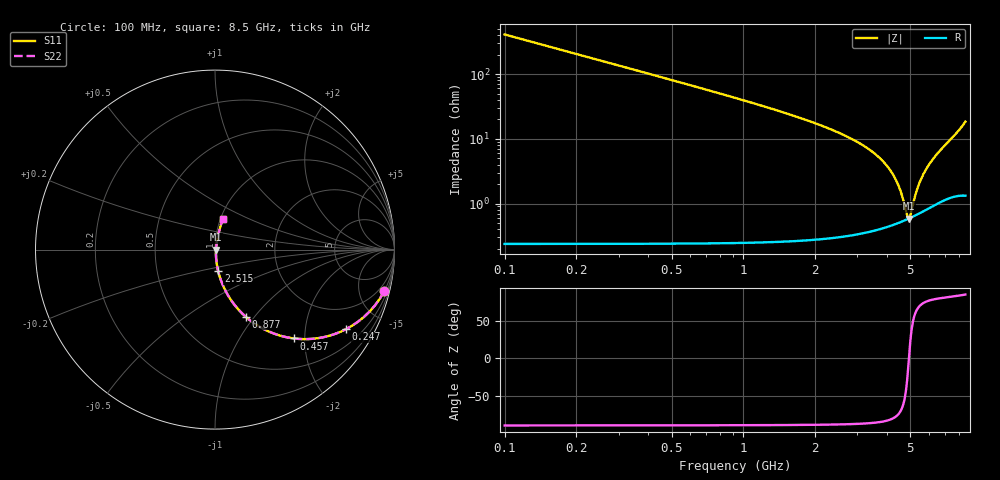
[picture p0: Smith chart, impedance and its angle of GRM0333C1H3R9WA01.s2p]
!Murata Part Number: GRM0333C1H3R9WA01
!These Parameters are Measured in Series Mode Connection
!Data Generated on Mar 30, 2021
!  o--ll--o
!Port1  Port2
!  o------o
!Operation Temp=25[degC], DC Bias Voltage=0[V]
!Freq. Start=100[MHz] Stop=9[GHz] 401[Steps]
# Hz S RI R 50
!Freq.(Hz) S11(Real) S11(Imag) S21(Real) S21(Imag) S12(Real) S12(Imag) S22(Real) S22(Imag)
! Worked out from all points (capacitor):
!   401 points, 100 MHz to 8.5 GHz, reference 50 ohm
!   read as one part in series: C = 3.9 pF near 142 MHz
!   lowest |Z| = 586 mohm at 4.93 GHz (marker M1)
!   series resonance near 4.93 GHz, so ESL is about 270 pH
!   S11 on the Smith chart (normalised r, x): 100 MHz: 1.00, -8.16; 247 MHz: 1.00, -3.30; 457 MHz: 1.00, -1.77; 877 MHz: 1.00, -0.90; 2.515 GHz: 1.01, -0.25; 8.5 GHz: 1.03, +0.37
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1e8  0.9432 -0.2312  0.0568 0.2312  0.0568 0.2312  0.9432 -0.2312
1.84e8  0.8304 -0.3747  0.1696 0.3747  0.1696 0.3747  0.8304 -0.3747
2.47e8  0.7307 -0.4429  0.2693 0.4429  0.2693 0.4429  0.7307 -0.4429
3.31e8  0.6011 -0.4887  0.3989 0.4887  0.3989 0.4887  0.6011 -0.4887
4.57e8  0.44 -0.495  0.56 0.495  0.56 0.495  0.44 -0.495
6.46e8  0.2797 -0.4469  0.7203 0.4469  0.7203 0.4469  0.2797 -0.4469
8.77e8  0.171 -0.3739  0.829 0.3739  0.829 0.3739  0.171 -0.3739
1.507e9  0.0601 -0.2324  0.9399 0.2324  0.9399 0.2324  0.0601 -0.2324
2.515e9  0.0179 -0.1209  0.9821 0.1209  0.9821 0.1209  0.0179 -0.1209
2.914e9  0.0121 -0.0932  0.9879 0.0932  0.9879 0.0932  0.0121 -0.0932
3.754e9  0.00637 -0.0482  0.9936 0.0482  0.9936 0.0482  0.00637 -0.0482
4.3e9  0.00534 -0.0245  0.9947 0.0245  0.9947 0.0245  0.00534 -0.0245
4.573e9  0.00536 -0.0136  0.9946 0.0136  0.9946 0.0136  0.00536 -0.0136
4.846e9  0.00567 -0.00315  0.9943 0.00315  0.9943 0.00315  0.00567 -0.00315
4.93e9  0.00583 -3e-06  0.9942 3e-06  0.9942 3e-06  0.00583 -3e-06
5.014e9  0.00601 0.00312  0.994 -0.00312  0.994 -0.00312  0.00601 0.00312
5.203e9  0.0065 0.0101  0.9935 -0.0101  0.9935 -0.0101  0.0065 0.0101
5.35e9  0.00697 0.0154  0.993 -0.0154  0.993 -0.0154  0.00697 0.0154
5.707e9  0.00843 0.0283  0.9916 -0.0283  0.9916 -0.0283  0.00843 0.0283
6.274e9  0.0116 0.0488  0.9884 -0.0488  0.9884 -0.0488  0.0116 0.0488
7.114e9  0.0184 0.0821  0.9816 -0.0821  0.9816 -0.0821  0.0184 0.0821
8.5e9  0.0443 0.1729  0.9557 -0.1729  0.9557 -0.1729  0.0443 0.1729
